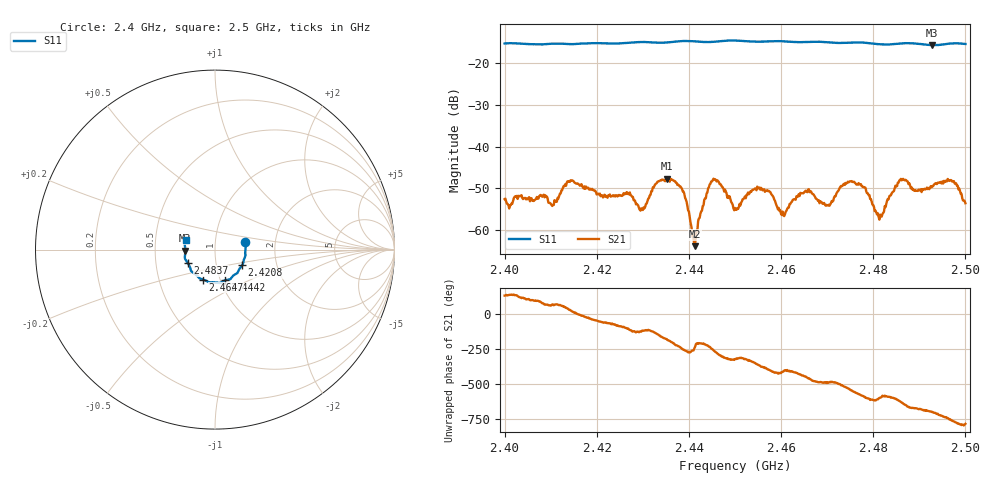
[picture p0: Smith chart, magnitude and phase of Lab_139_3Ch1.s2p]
# Hz S RI R 50
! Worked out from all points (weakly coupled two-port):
!   601 points, 2.4 GHz to 2.5 GHz, reference 50 ohm
!   highest |S21| = -47.70 dB at 2.4352 GHz (marker M1); lowest = -63.9 dB at 2.4413 GHz (marker M2)
!   lowest |S11| = -15.6 dB at 2.4928 GHz (marker M3), VSWR 1.40, Z = 35.8 - j0.37 ohm
!   |S11| at or under -10 dB: start of sweep to end of sweep
!   S12 and S22 are empty: the file has one direction only
!   S11 on the Smith chart (normalised r, x): 2.4 GHz: 1.40, +0.12; 2.4208 GHz: 1.33, -0.24; 2.4442 GHz: 1.05, -0.37; 2.4647 GHz: 0.83, -0.29; 2.4837 GHz: 0.73, -0.11; 2.5 GHz: 0.72, +0.08
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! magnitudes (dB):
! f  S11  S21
! 2.4 GHz  -15.2  -52.6
! 2.4167 GHz  -15.3  -49.0
! 2.4208 GHz  -15.2  -51.9
! 2.4298 GHz  -14.9  -55.0
! 2.4333 GHz  -15.0  -48.3
! 2.4352 GHz  -15.0  -47.7
! 2.4385 GHz  -14.6  -50.2
! 2.4413 GHz  -14.7  -63.9
! 2.4442 GHz  -14.9  -50.0
! 2.446 GHz  -14.8  -48.4
! 2.45 GHz  -14.5  -54.7
! 2.4553 GHz  -14.8  -49.8
! 2.4605 GHz  -14.7  -56.5
! 2.4647 GHz  -14.9  -51.2
! 2.4667 GHz  -14.8  -51.2
! 2.4702 GHz  -14.9  -54.1
! 2.4755 GHz  -15.0  -48.5
! 2.4813 GHz  -15.4  -57.5
! 2.4833 GHz  -15.5  -52.7
! 2.4837 GHz  -15.5  -51.8
! 2.4928 GHz  -15.6  -49.6
! 2.5 GHz  -15.3  -53.6
